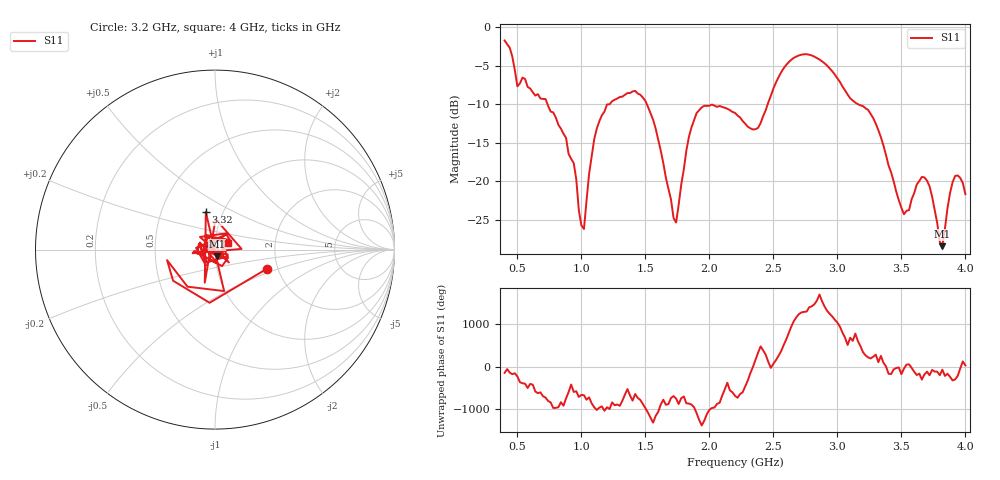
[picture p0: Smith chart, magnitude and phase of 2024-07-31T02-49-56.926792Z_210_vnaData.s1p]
!Created with skrf (http://scikit-rf.org).
# Hz S RI R 50.0
!freq ReS11 ImS11
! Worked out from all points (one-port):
!   181 points, 400 MHz to 4 GHz, reference 50 ohm
!   lowest |S11| = -28.4 dB at 3.82 GHz (marker M1), VSWR 1.08, Z = 51 - j3.72 ohm
!   |S11| at or under -10 dB: 735.2 MHz to 1.22 GHz (485.1 MHz wide, 49.6 % of centre); 1.511 GHz to 2.455 GHz (944 MHz wide, 47.6 % of centre); 3.161 GHz to end of sweep
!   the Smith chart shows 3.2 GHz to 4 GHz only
!   S11 on the Smith chart (normalised r, x): 3.2 GHz: 1.75, -0.41; 3.32 GHz: 0.83, +0.36; 4 GHz: 1.16, +0.09
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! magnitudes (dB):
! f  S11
! 400 MHz  -1.7
! 500 MHz  -7.7
! 720 MHz  -9.3
! 860 MHz  -13.8
! 940 MHz  -17.6
! 1.02 GHz  -26.2
! 1.06 GHz  -19.0
! 1.12 GHz  -13.2
! 1.3 GHz  -9.1
! 1.5 GHz  -9.6
! 1.58 GHz  -13.1
! 1.72 GHz  -24.7
! 1.76 GHz  -23.0
! 1.84 GHz  -14.2
! 1.9 GHz  -11.1
! 2.2 GHz  -11.1
! 2.38 GHz  -13.1
! 2.66 GHz  -4.0
! 2.86 GHz  -4.2
! 3.1 GHz  -9.2
! 3.2 GHz  -10.2
! 3.32 GHz  -13.4
! 3.5 GHz  -23.4
! 3.56 GHz  -23.7
! 3.68 GHz  -19.5
! 3.82 GHz  -28.4
! 3.92 GHz  -19.3
! 4 GHz  -21.7
